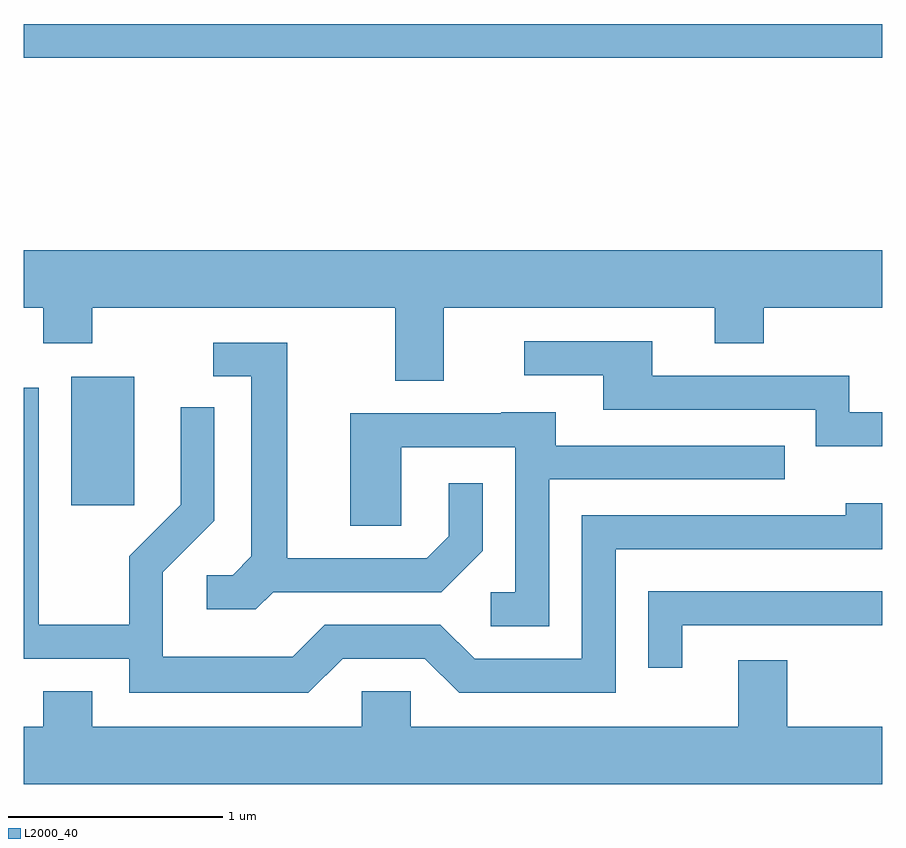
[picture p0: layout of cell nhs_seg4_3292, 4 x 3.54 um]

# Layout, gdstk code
import gdstk
lib = gdstk.Library(unit=1e-6, precision=1e-09)
def R(c, l, rs):  # rectangles x0, y0, x1, y1
    for r in rs: c.add(gdstk.rectangle(r[:2], r[2:], *l))
def P(c, l, *ps):  # polygons
    for p in ps: c.add(gdstk.Polygon(p, *l))
L2000_40 = (2000, 40)

nhs_seg4_3292 = lib.new_cell('nhs_seg4_3292')
R(nhs_seg4_3292, L2000_40, [(281.831,1311.576,282.124,1312.174), (281.611,1313.661,285.611,1313.819)])
P(nhs_seg4_3292, L2000_40, [(283.569,1312.496),(284.831,1312.496),(284.831,1312.331),(285.059,1312.331),(285.059,1312.496),(285.611,1312.496),(285.611,1312.764),(281.611,1312.764),(281.611,1312.496),(281.701,1312.496),(281.701,1312.331),(281.929,1312.331),(281.929,1312.496),(283.341,1312.496),(283.341,1312.156),(283.569,1312.156)],
  [(285.611,1312.009),(285.459,1312.009),(285.459,1312.179),(284.539,1312.179),(284.539,1312.339),(283.943,1312.339),(283.943,1312.181),(284.311,1312.181),(284.311,1312.021),(285.301,1312.021),(285.301,1311.851),(285.611,1311.851)],
  [(282.772,1311.171),(283.557,1311.171),(283.749,1311.364),(283.749,1311.678),(283.591,1311.678),(283.591,1311.432),(283.489,1311.329),(282.839,1311.329),(282.839,1312.334),(282.493,1312.334),(282.493,1312.176),(282.671,1312.176),(282.671,1311.337),(282.584,1311.249),(282.463,1311.249),(282.463,1311.091),(282.692,1311.091)],
  [(283.097,1310.861),(283.479,1310.861),(283.639,1310.701),(284.369,1310.701),(284.369,1311.371),(285.611,1311.371),(285.611,1311.584),(285.441,1311.584),(285.441,1311.529),(284.211,1311.529),(284.211,1310.859),(283.712,1310.859),(283.552,1311.019),(283.014,1311.019),(282.864,1310.869),(282.259,1310.869),(282.259,1311.264),(282.499,1311.504),(282.499,1312.033),(282.341,1312.033),(282.341,1311.577),(282.101,1311.337),(282.101,1311.019),(281.679,1311.019),(281.679,1312.124),(281.611,1312.124),(281.611,1310.861),(282.101,1310.861),(282.101,1310.701),(282.937,1310.701)],
  [(284.059,1311.696),(285.158,1311.696),(285.158,1311.854),(284.089,1311.854),(284.089,1312.009),(283.835,1312.009),(283.835,1312.004),(283.131,1312.004),(283.131,1311.481),(283.369,1311.481),(283.369,1311.846),(283.901,1311.846),(283.901,1311.169),(283.788,1311.169),(283.788,1311.011),(284.059,1311.011)],
  [(284.679,1311.016),(285.611,1311.016),(285.611,1311.174),(284.521,1311.174),(284.521,1310.818),(284.679,1310.818)],
  [(285.611,1310.544),(285.169,1310.544),(285.169,1310.854),(284.941,1310.854),(284.941,1310.544),(283.414,1310.544),(283.414,1310.709),(283.186,1310.709),(283.186,1310.544),(281.929,1310.544),(281.929,1310.709),(281.701,1310.709),(281.701,1310.544),(281.611,1310.544),(281.611,1310.276),(285.611,1310.276)])

lib.write_gds('nhs_seg4_3292.gds')
